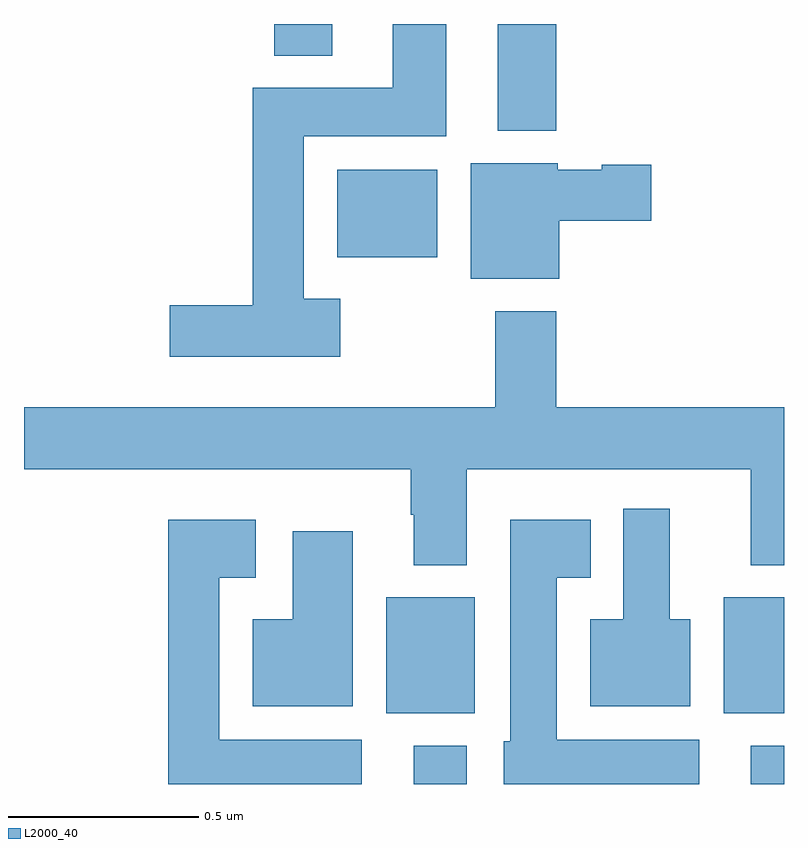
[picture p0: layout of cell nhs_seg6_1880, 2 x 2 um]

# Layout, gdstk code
import gdstk
lib = gdstk.Library(unit=1e-6, precision=1e-09)
def R(c, l, rs):  # rectangles x0, y0, x1, y1
    for r in rs: c.add(gdstk.rectangle(r[:2], r[2:], *l))
def P(c, l, *ps):  # polygons
    for p in ps: c.add(gdstk.Polygon(p, *l))
L2000_40 = (2000, 40)

nhs_seg6_1880 = lib.new_cell('nhs_seg6_1880')
R(nhs_seg6_1880, L2000_40, [(136.025,954.5,136.165,954.601), (136.913,954.5,137,954.601), (135.953,954.686,136.186,954.991), (136.841,954.686,137,954.991), (135.824,955.886,136.087,956.116), (136.247,956.219,136.4,956.5), (135.659,956.417,135.811,956.5)])
P(nhs_seg6_1880, L2000_40, [(135.832,955.777),(135.736,955.777),(135.736,956.204),(136.111,956.204),(136.111,956.5),(135.971,956.5),(135.971,956.332),(135.602,956.332),(135.602,955.76),(135.384,955.76),(135.384,955.625),(135.832,955.625)],
  [(136.408,955.982),(136.651,955.982),(136.651,956.129),(136.521,956.129),(136.521,956.116),(136.404,956.116),(136.404,956.134),(136.175,956.134),(136.175,955.829),(136.408,955.829)],
  [(136.165,955.328),(136.913,955.328),(136.913,955.076),(137,955.076),(137,955.492),(136.4,955.492),(136.4,955.744),(136.24,955.744),(136.24,955.492),(135,955.492),(135,955.328),(136.018,955.328),(136.018,955.208),(136.025,955.208),(136.025,955.076),(136.165,955.076)],
  [(136.753,954.934),(136.699,954.934),(136.699,955.225),(136.577,955.225),(136.577,954.934),(136.49,954.934),(136.49,954.704),(136.753,954.704)],
  [(136.777,954.616),(136.402,954.616),(136.402,955.043),(136.492,955.043),(136.492,955.195),(136.28,955.195),(136.28,954.612),(136.262,954.612),(136.262,954.5),(136.777,954.5)],
  [(135.889,954.616),(135.514,954.616),(135.514,955.043),(135.61,955.043),(135.61,955.195),(135.38,955.195),(135.38,954.5),(135.889,954.5)],
  [(135.865,955.165),(135.707,955.165),(135.707,954.934),(135.602,954.934),(135.602,954.704),(135.865,954.704)])

lib.write_gds('nhs_seg6_1880.gds')
